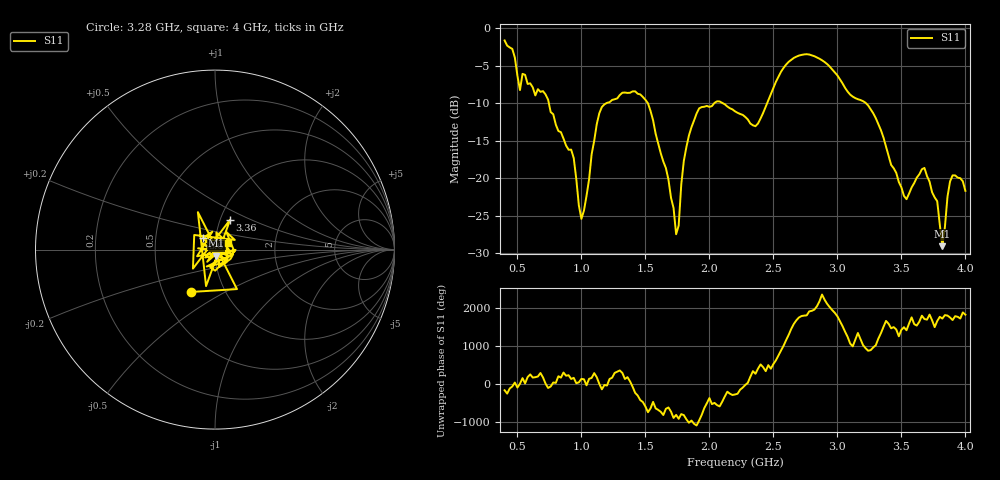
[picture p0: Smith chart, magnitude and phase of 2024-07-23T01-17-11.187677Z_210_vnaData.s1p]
!Created with skrf (http://scikit-rf.org).
# Hz S RI R 50.0
!freq ReS11 ImS11
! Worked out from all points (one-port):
!   181 points, 400 MHz to 4 GHz, reference 50 ohm
!   lowest |S11| = -29.0 dB at 3.82 GHz (marker M1), VSWR 1.07, Z = 50.7 - j3.49 ohm
!   |S11| at or under -10 dB: 745.8 MHz to 1.193 GHz (447.4 MHz wide, 46.1 % of centre); 1.52 GHz to 2.037 GHz (516.8 MHz wide, 29.1 % of centre); 3.224 GHz to end of sweep (the widest 3 of 4)
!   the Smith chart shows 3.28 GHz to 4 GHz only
!   S11 on the Smith chart (normalised r, x): 3.28 GHz: 0.69, -0.35; 3.36 GHz: 1.11, +0.39; 3.6 GHz: 0.87, +0.11; 4 GHz: 1.16, +0.08
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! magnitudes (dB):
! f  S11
! 400 MHz  -1.6
! 460 MHz  -2.7
! 520 MHz  -8.2
! 700 MHz  -8.4
! 860 MHz  -14.7
! 940 MHz  -17.3
! 1 GHz  -25.4
! 1.14 GHz  -11.3
! 1.3 GHz  -8.9
! 1.52 GHz  -10.0
! 1.68 GHz  -20.2
! 1.74 GHz  -27.5
! 1.76 GHz  -26.3
! 1.8 GHz  -17.7
! 1.9 GHz  -11.4
! 2.2 GHz  -11.1
! 2.36 GHz  -13.0
! 2.66 GHz  -3.9
! 3.1 GHz  -8.8
! 3.28 GHz  -11.3
! 3.36 GHz  -14.6
! 3.56 GHz  -22.0
! 3.6 GHz  -20.6
! 3.68 GHz  -18.6
! 3.78 GHz  -23.1
! 3.82 GHz  -29.0
! 3.88 GHz  -20.4
! 4 GHz  -21.7
